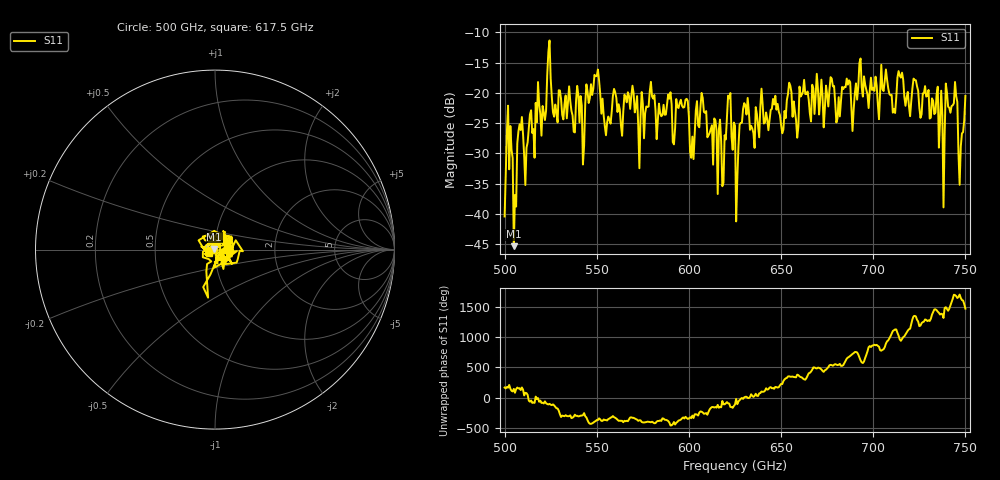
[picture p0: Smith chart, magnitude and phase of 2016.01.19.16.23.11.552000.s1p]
!Created with skrf (http://scikit-rf.org).
# GHz S RI R 50.0
!freq ReS11 ImS11
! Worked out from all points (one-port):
!   401 points, 500 GHz to 750 GHz, reference 50 ohm
!   lowest |S11| = -45.3 dB at 505 GHz (marker M1), VSWR 1.01, Z = 49.5 + j0.287 ohm
!   |S11| at or under -10 dB: start of sweep to end of sweep
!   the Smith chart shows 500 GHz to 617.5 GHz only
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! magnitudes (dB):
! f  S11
! 500 GHz  -40.4
! 502.5 GHz  -32.6
! 505 GHz  -45.3
! 508.1 GHz  -25.2
! 511.9 GHz  -29.1
! 524.4 GHz  -11.4
! 527.5 GHz  -21.9
! 531.2 GHz  -23.6
! 541.9 GHz  -22.1
! 550 GHz  -17.2
! 555 GHz  -27.0
! 562.5 GHz  -22.8
! 593.8 GHz  -22.4
! 598.8 GHz  -21.0
! 601.9 GHz  -27.2
! 608.1 GHz  -23.1
! 618.8 GHz  -34.8
! 621.9 GHz  -20.9
! 625 GHz  -25.4
! 630.6 GHz  -22.0
! 656.2 GHz  -24.0
! 687.5 GHz  -18.3
! 718.8 GHz  -19.9
! 728.8 GHz  -20.6
! 736.9 GHz  -19.6
! 744.4 GHz  -18.2
! 747.5 GHz  -28.9
! 750 GHz  -20.5
